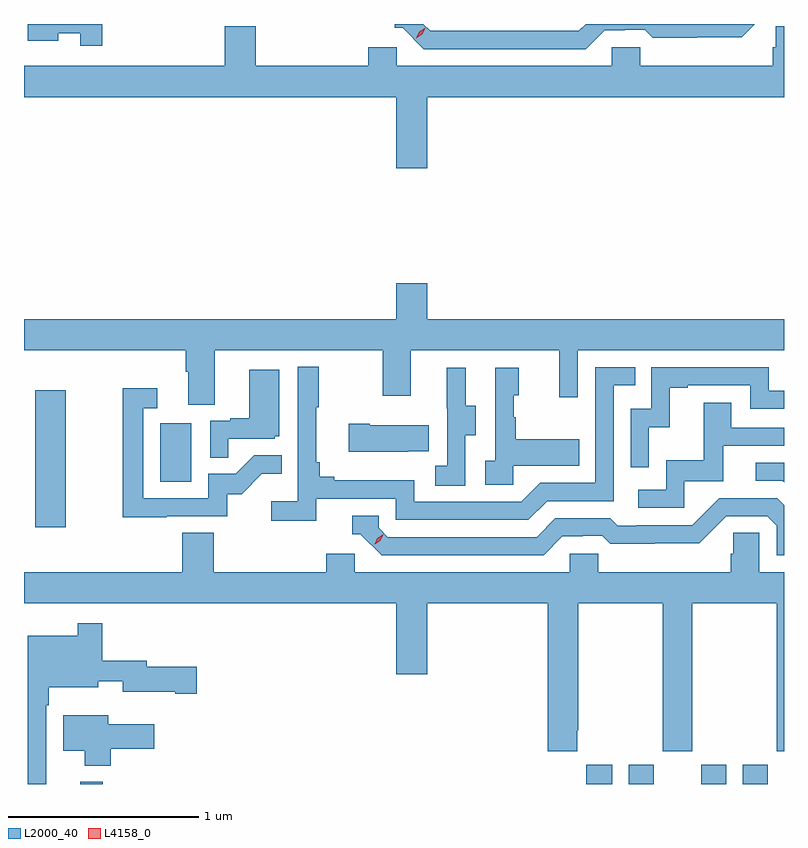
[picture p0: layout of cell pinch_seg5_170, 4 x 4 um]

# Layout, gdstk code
import gdstk
lib = gdstk.Library(unit=1e-6, precision=1e-09)
def R(c, l, rs):  # rectangles x0, y0, x1, y1
    for r in rs: c.add(gdstk.rectangle(r[:2], r[2:], *l))
def P(c, l, *ps):  # polygons
    for p in ps: c.add(gdstk.Polygon(p, *l))
L2000_40 = (2000, 40)
L4158_0 = (4158, 0)

pinch_seg5_170 = lib.new_cell('pinch_seg5_170')
R(pinch_seg5_170, L2000_40, [(1134.374,875.789,1134.491,875.8), (1137.035,875.789,1137.172,875.89), (1137.26,875.789,1137.391,875.89), (1137.641,875.789,1137.772,875.89), (1137.86,875.789,1137.991,875.89), (1134.137,877.14,1134.298,877.861), (1134.794,877.38,1134.958,877.687)])
P(pinch_seg5_170, L2000_40, [(1134.488,879.787),(1134.468,879.787),(1134.468,879.789),(1134.098,879.789),(1134.098,879.701),(1134.256,879.701),(1134.256,879.74),(1134.372,879.74),(1134.372,879.675),(1134.488,879.675)],
  [(1137.133,879.756),(1137.24,879.756),(1137.24,879.759),(1137.343,879.759),(1137.385,879.717),(1137.618,879.717),(1137.618,879.719),(1137.854,879.719),(1137.924,879.789),(1137.033,879.789),(1136.997,879.753),(1136.214,879.753),(1136.178,879.789),(1136.027,879.789),(1136.027,879.768),(1136.07,879.768),(1136.181,879.657),(1137.034,879.657)],
  [(1136.2,879.404),(1138.077,879.404),(1138.077,879.776),(1138.033,879.776),(1138.033,879.666),(1138.019,879.666),(1138.019,879.568),(1137.321,879.568),(1137.321,879.666),(1137.171,879.666),(1137.171,879.568),(1136.04,879.568),(1136.04,879.666),(1135.889,879.666),(1135.889,879.568),(1135.298,879.568),(1135.298,879.776),(1135.133,879.776),(1135.133,879.568),(1134.077,879.568),(1134.077,879.404),(1136.036,879.404),(1136.036,879.03),(1136.2,879.03)],
  [(1135.081,878.072),(1135.966,878.072),(1135.966,877.833),(1136.113,877.833),(1136.113,878.072),(1136.894,878.072),(1136.894,877.824),(1136.991,877.824),(1136.991,878.072),(1138.077,878.072),(1138.077,878.236),(1136.2,878.236),(1136.2,878.425),(1136.036,878.425),(1136.036,878.236),(1134.077,878.236),(1134.077,878.072),(1134.929,878.072),(1134.929,877.96),(1134.941,877.96),(1134.941,877.786),(1135.081,877.786)],
  [(1135.616,877.29),(1136.034,877.29),(1136.034,877.179),(1136.731,877.179),(1136.83,877.278),(1137.18,877.278),(1137.18,877.887),(1137.293,877.887),(1137.293,877.983),(1137.084,877.983),(1137.084,877.374),(1136.793,877.374),(1136.694,877.275),(1136.13,877.275),(1136.13,877.387),(1135.711,877.387),(1135.711,877.406),(1135.634,877.406),(1135.634,877.483),(1135.615,877.483),(1135.615,877.771),(1135.627,877.771),(1135.627,877.984),(1135.518,877.984),(1135.518,877.276),(1135.377,877.276),(1135.377,877.174),(1135.616,877.174)],
  [(1137.366,877.667),(1137.476,877.667),(1137.476,877.875),(1137.571,877.875),(1137.571,877.887),(1137.9,877.887),(1137.9,877.764),(1138.077,877.764),(1138.077,877.86),(1137.996,877.86),(1137.996,877.983),(1137.378,877.983),(1137.378,877.764),(1137.27,877.764),(1137.27,877.455),(1137.366,877.455)],
  [(1136.4,877.624),(1136.455,877.624),(1136.455,877.779),(1136.401,877.779),(1136.401,877.981),(1136.303,877.981),(1136.303,877.767),(1136.304,877.767),(1136.304,877.463),(1136.241,877.463),(1136.241,877.36),(1136.4,877.36)],
  [(1136.652,877.463),(1136.999,877.463),(1136.999,877.603),(1136.665,877.603),(1136.665,877.718),(1136.655,877.718),(1136.655,877.836),(1136.68,877.836),(1136.68,877.981),(1136.556,877.981),(1136.556,877.49),(1136.505,877.49),(1136.505,877.365),(1136.652,877.365)],
  [(1135.151,877.605),(1135.398,877.605),(1135.398,877.62),(1135.42,877.62),(1135.42,877.969),(1135.262,877.969),(1135.262,877.714),(1135.163,877.714),(1135.163,877.701),(1135.056,877.701),(1135.056,877.507),(1135.151,877.507)],
  [(1134.827,877.197),(1135.146,877.197),(1135.146,877.314),(1135.222,877.314),(1135.329,877.421),(1135.433,877.421),(1135.433,877.52),(1135.289,877.52),(1135.191,877.422),(1135.047,877.422),(1135.047,877.293),(1134.705,877.293),(1134.705,877.767),(1134.778,877.767),(1134.778,877.873),(1134.597,877.873),(1134.597,877.192),(1134.827,877.192)],
  [(1137.552,877.383),(1137.757,877.383),(1137.757,877.569),(1138.077,877.569),(1138.077,877.665),(1137.799,877.665),(1137.799,877.795),(1137.655,877.795),(1137.655,877.492),(1137.456,877.492),(1137.456,877.338),(1137.309,877.338),(1137.309,877.242),(1137.552,877.242)],
  [(1136.099,877.541),(1136.207,877.541),(1136.207,877.678),(1135.897,877.678),(1135.897,877.686),(1135.785,877.686),(1135.785,877.538),(1136.099,877.538)],
  [(1138.077,877.479),(1137.927,877.479),(1137.927,877.386),(1138.068,877.386),(1138.077,877.377)],
  [(1136.911,877.092),(1137.018,877.092),(1137.018,877.095),(1137.121,877.095),(1137.163,877.053),(1137.396,877.053),(1137.396,877.055),(1137.632,877.055),(1137.774,877.197),(1137.99,877.197),(1138.038,877.149),(1138.038,876.993),(1138.077,876.993),(1138.077,877.257),(1138.041,877.293),(1137.735,877.293),(1137.594,877.152),(1137.301,877.152),(1137.301,877.149),(1137.202,877.149),(1137.163,877.188),(1136.874,877.188),(1136.775,877.089),(1135.992,877.089),(1135.944,877.137),(1135.944,877.2),(1135.805,877.2),(1135.805,877.104),(1135.848,877.104),(1135.959,876.993),(1136.812,876.993)],
  [(1136.989,876.073),(1136.994,876.073),(1136.994,876.74),(1137.439,876.74),(1137.439,875.961),(1137.594,875.961),(1137.594,876.74),(1138.039,876.74),(1138.039,875.961),(1138.077,875.961),(1138.077,876.904),(1137.948,876.904),(1137.948,877.112),(1137.811,877.112),(1137.811,877.002),(1137.797,877.002),(1137.797,876.904),(1137.099,876.904),(1137.099,877.002),(1136.949,877.002),(1136.949,876.904),(1135.818,876.904),(1135.818,877.002),(1135.667,877.002),(1135.667,876.904),(1135.076,876.904),(1135.076,877.112),(1134.911,877.112),(1134.911,876.904),(1134.077,876.904),(1134.077,876.74),(1136.036,876.74),(1136.036,876.366),(1136.2,876.366),(1136.2,876.74),(1136.834,876.74),(1136.834,875.961),(1136.989,875.961)],
  [(1134.195,876.203),(1134.208,876.203),(1134.208,876.299),(1134.469,876.299),(1134.469,876.329),(1134.596,876.329),(1134.596,876.275),(1134.872,876.275),(1134.872,876.263),(1134.985,876.263),(1134.985,876.405),(1134.724,876.405),(1134.724,876.439),(1134.488,876.439),(1134.488,876.634),(1134.36,876.634),(1134.36,876.568),(1134.098,876.568),(1134.098,875.789),(1134.195,875.789)],
  [(1134.533,875.974),(1134.763,875.974),(1134.763,876.103),(1134.52,876.103),(1134.52,876.151),(1134.284,876.151),(1134.284,875.963),(1134.398,875.963),(1134.398,875.885),(1134.533,875.885)])
P(pinch_seg5_170, L4158_0, [(1135.922,877.05),(1135.922,877.05),(1135.937,877.083),(1135.968,877.103),(1135.968,877.103),(1135.968,877.103),(1135.952,877.07),(1135.922,877.05)],
  [(1136.142,879.715),(1136.142,879.716),(1136.158,879.748),(1136.188,879.768),(1136.188,879.768),(1136.188,879.768),(1136.173,879.735),(1136.142,879.715)])

lib.write_gds('pinch_seg5_170.gds')
